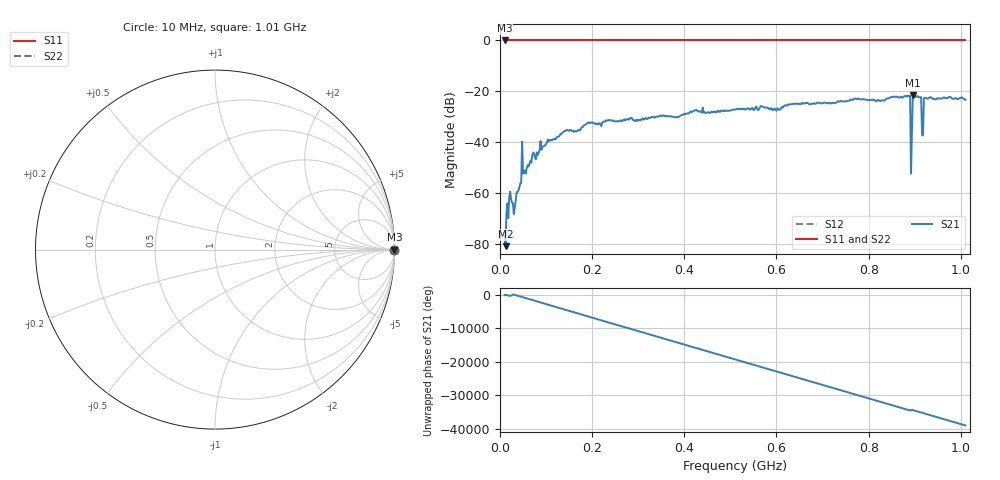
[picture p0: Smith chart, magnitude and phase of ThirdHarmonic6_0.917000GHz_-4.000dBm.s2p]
! 8/16/2025 5:58:10 AM
! C:\ANRITSUVNA\TEMP\TEMP.S2P
! CHANNEL.1
! TR.MEASUREMENT
! RAW.DATA
! RF.CORRECTION.OFF
! AVERAGING.OFF
! IF.BANDWIDTH: 5KHZ
! SWEEPTYPE:  FREQ.SWEEP(Linear)
! Reference Plane Port Info
! PORT:  PORT1  PORT2
! DISTANCE:  0  m  0  m
! TIME:  0  s  0  s
! PHASE.OFFSET:  0  deg.  0  deg.
! LOSS:  0  dB  0  dB
! REF.LOSS:  0  dB  0  dB
! REF.FREQ:  0  Hz  0  Hz
! Power Info
! POWER:  -20  dBm  -20  dBm
! EFF.POWER:  -20  dBm  -20  dBm
! SOURCE.ATTEN:  0  dB  0  dB
! TEST.ATTEN:  0  dB  0  dB
# GHZ S RI R 50.0
! FREQ.GHZ  S11RE  S11IM  S21RE  S21IM  S12RE  S12IM  S22RE  S22IM
!; PortSelection: Port_12
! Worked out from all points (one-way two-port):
!   501 points, 10 MHz to 1.01 GHz, reference 50 ohm
!   highest |S21| = -21.58 dB at 896 MHz (marker M1); lowest = -81.0 dB at 12 MHz (marker M2)
!   lowest |S11| = 0.0 dB at 10 MHz (marker M3)
!   |S11| at or under -10 dB: nowhere
!   |S22| runs from 0.0 to 0.0 dB; largest |S21 - S12| = 1.1
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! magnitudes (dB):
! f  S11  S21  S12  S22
! 10 MHz  0.0  -74.9  0.0  0.0
! 12 MHz  0.0  -81.0  0.0  0.0
! 20 MHz  0.0  -61.7  0.0  0.0
! 32 MHz  0.0  -65.9  0.0  0.0
! 52 MHz  0.0  -52.1  0.0  0.0
! 54 MHz  0.0  -51.2  0.0  0.0
! 70 MHz  0.0  -45.3  0.0  0.0
! 106 MHz  0.0  -39.8  0.0  0.0
! 178 MHz  0.0  -34.1  0.0  0.0
! 344 MHz  0.0  -30.0  0.0  0.0
! 510 MHz  0.0  -27.2  0.0  0.0
! 678 MHz  0.0  -25.0  0.0  0.0
! 844 MHz  0.0  -22.7  0.0  0.0
! 886 MHz  0.0  -21.9  0.0  0.0
! 890 MHz  0.0  -21.8  0.0  0.0
! 896 MHz  0.0  -21.6  0.0  0.0
! 900 MHz  0.0  -22.3  0.0  0.0
! 910 MHz  0.0  -22.5  0.0  0.0
! 914 MHz  0.0  -22.4  0.0  0.0
! 920 MHz  0.0  -22.8  0.0  0.0
! 924 MHz  0.0  -22.7  0.0  0.0
! 1.01 GHz  0.0  -23.4  0.0  0.0
